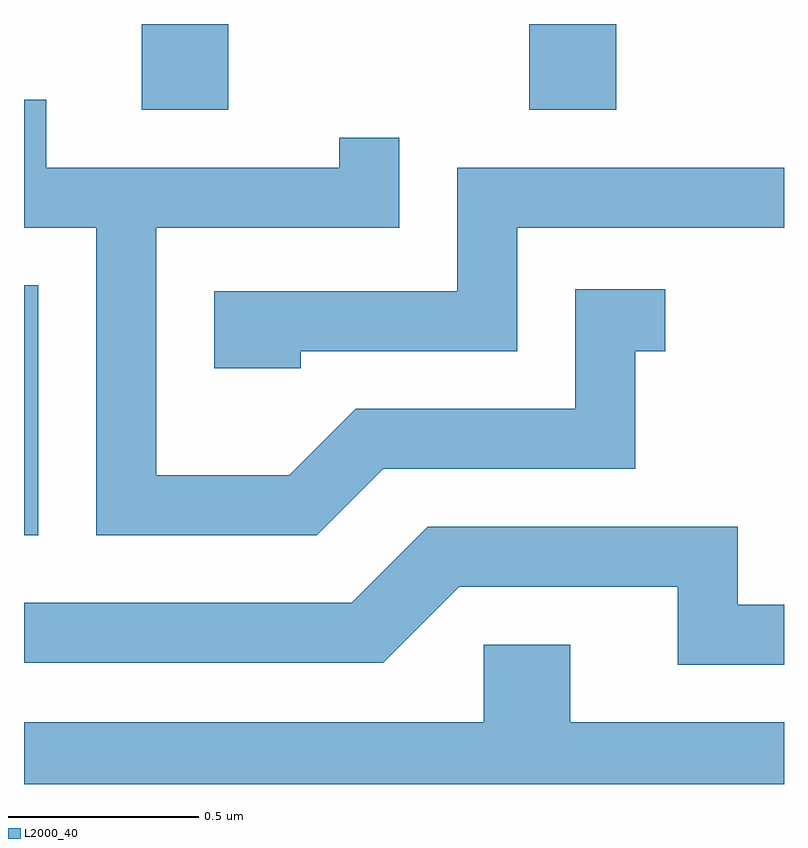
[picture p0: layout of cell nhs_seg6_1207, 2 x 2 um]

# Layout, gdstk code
import gdstk
lib = gdstk.Library(unit=1e-6, precision=1e-09)
def R(c, l, rs):  # rectangles x0, y0, x1, y1
    for r in rs: c.add(gdstk.rectangle(r[:2], r[2:], *l))
def P(c, l, *ps):  # polygons
    for p in ps: c.add(gdstk.Polygon(p, *l))
L2000_40 = (2000, 40)

nhs_seg6_1207 = lib.new_cell('nhs_seg6_1207')
R(nhs_seg6_1207, L2000_40, [(193.611,1641.816,193.649,1642.474), (193.921,1642.936,194.149,1643.162), (194.941,1642.936,195.169,1643.162)])
P(nhs_seg6_1207, L2000_40, [(194.557,1641.991),(195.219,1641.991),(195.219,1642.301),(195.298,1642.301),(195.298,1642.464),(195.061,1642.464),(195.061,1642.149),(194.484,1642.149),(194.309,1641.974),(193.959,1641.974),(193.959,1642.626),(194.599,1642.626),(194.599,1642.863),(194.441,1642.863),(194.441,1642.784),(193.669,1642.784),(193.669,1642.963),(193.611,1642.963),(193.611,1642.626),(193.801,1642.626),(193.801,1641.816),(194.382,1641.816)],
  [(194.339,1642.301),(194.909,1642.301),(194.909,1642.626),(195.611,1642.626),(195.611,1642.784),(194.751,1642.784),(194.751,1642.459),(194.111,1642.459),(194.111,1642.256),(194.339,1642.256)],
  [(195.611,1641.634),(195.489,1641.634),(195.489,1641.839),(194.674,1641.839),(194.474,1641.639),(193.611,1641.639),(193.611,1641.481),(194.557,1641.481),(194.757,1641.681),(195.331,1641.681),(195.331,1641.476),(195.611,1641.476)],
  [(195.611,1641.324),(195.049,1641.324),(195.049,1641.529),(194.821,1641.529),(194.821,1641.324),(193.611,1641.324),(193.611,1641.162),(195.611,1641.162)])

lib.write_gds('nhs_seg6_1207.gds')
